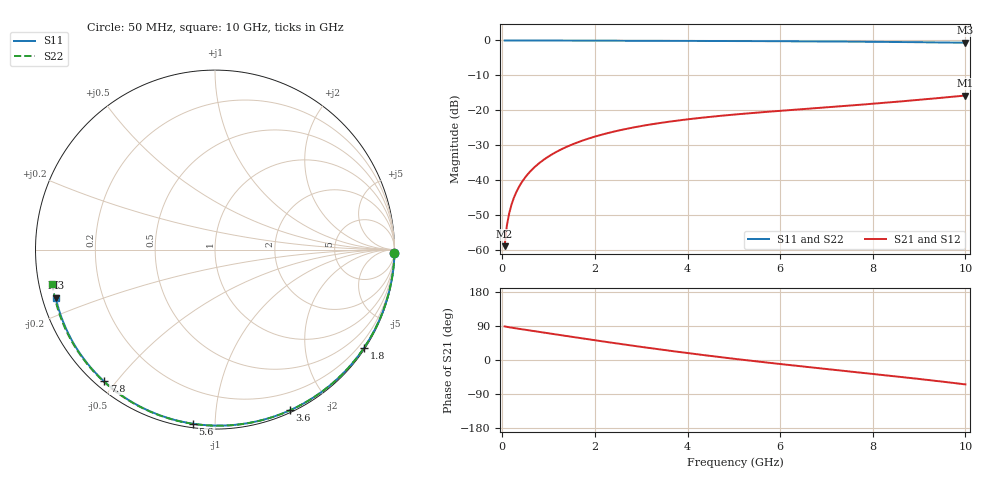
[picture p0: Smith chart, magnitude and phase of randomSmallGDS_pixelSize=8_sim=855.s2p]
! freq	dB(S11)	phase(S11)	dB(S12)	phase(S12)
!  dB(S21)	phase(S21)	dB(S22)	phase(S22)
!S-par simulation data
#  GHz  S  DB  R 50
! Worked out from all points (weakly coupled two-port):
!   200 points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, 50 MHz to 10 GHz, reference 50 ohm
!   highest |S21| = -15.75 dB at 10 GHz (marker M1); lowest = -58.8 dB at 50 MHz (marker M2)
!   lowest |S11| = -0.7 dB at 10 GHz (marker M3), VSWR 26.38, Z = 1.94 - j7.4 ohm
!   |S11| at or under -10 dB: nowhere
!   |S22| runs from -0.7 to 0.0 dB; largest |S21 - S12| = 0
!   S11 on the Smith chart (normalised r, x): 50 MHz: open; 1.8 GHz: 0.03, -3.32; 3.6 GHz: 0.02, -1.57; 5.6 GHz: 0.02, -0.88; 7.8 GHz: 0.03, -0.47; 10 GHz: 0.04, -0.15
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0.05  -0.00 -0.9  -58.83 88.7  -58.83 88.7  -0.00 -1.0
0.1  -0.00 -1.9  -52.85 87.4  -52.85 87.4  -0.00 -2.0
0.15  -0.00 -2.8  -49.36 86.3  -49.36 86.3  -0.00 -3.0
0.2  -0.00 -3.8  -46.90 85.3  -46.90 85.3  -0.00 -4.0
0.35  -0.01 -6.6  -42.12 82.5  -42.12 82.5  -0.01 -6.9
0.5  -0.01 -9.5  -39.07 79.8  -39.07 79.8  -0.01 -9.9
0.7  -0.02 -13.2  -36.19 76.1  -36.19 76.1  -0.02 -13.8
1  -0.02 -18.8  -33.17 70.5  -33.17 70.5  -0.03 -19.6
1.35  -0.04 -25.3  -30.66 64.0  -30.66 64.0  -0.04 -26.3
1.75  -0.05 -32.6  -28.55 56.6  -28.55 56.6  -0.05 -33.9
1.8  -0.05 -33.5  -28.33 55.7  -28.33 55.7  -0.05 -34.9
2.6  -0.07 -47.8  -25.50 41.5  -25.50 41.5  -0.08 -49.7
3.4  -0.10 -61.6  -23.61 28.0  -23.61 28.0  -0.10 -64.0
3.6  -0.11 -65.0  -23.23 24.7  -23.23 24.7  -0.11 -67.5
4.3  -0.13 -76.6  -22.11 13.7  -22.11 13.7  -0.14 -79.5
5.05  -0.17 -88.6  -21.14 2.6  -21.14 2.6  -0.17 -91.8
5.6  -0.19 -97.2  -20.54 -5.2  -20.54 -5.2  -0.20 -100.6
6.7  -0.26 -113.8  -19.43 -19.8  -19.43 -19.8  -0.27 -117.7
7.8  -0.36 -130.1  -18.31 -34.0  -18.31 -34.0  -0.37 -134.3
8.35  -0.42 -138.2  -17.72 -41.2  -17.72 -41.2  -0.43 -142.6
9.2  -0.53 -150.9  -16.74 -52.8  -16.74 -52.8  -0.54 -155.5
10  -0.66 -163.1  -15.75 -64.4  -15.75 -64.4  -0.67 -168.0
